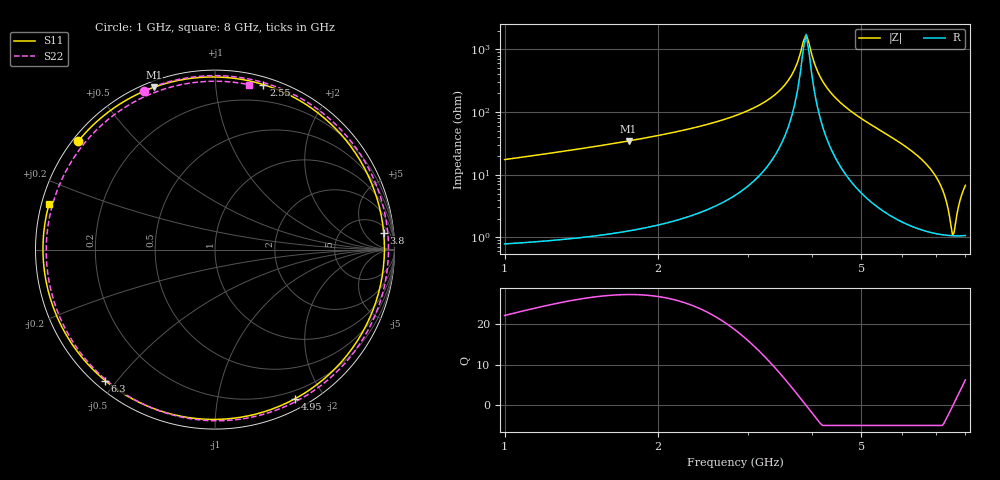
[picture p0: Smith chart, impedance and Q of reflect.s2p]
# GHz S RI R 50
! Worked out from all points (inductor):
!   141 points, 1 GHz to 8 GHz, reference 50 ohm
!   read as one part to ground: L = 2.57 nH near 1 GHz
!   highest Q = 27.3 at 1.75 GHz (marker M1), where L = 3.15 nH
!   self-resonance near 3.895 GHz
!   S11 on the Smith chart (normalised r, x): 1 GHz: 0.02, +0.35; 2.55 GHz: 0.06, +1.33; 3.8 GHz: 9, +15; 4.95 GHz: 0.11, -1.67; 6.3 GHz: 0.03, -0.47; 8 GHz: 0.02, +0.13
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1  -0.7616 0.6045  -0 -0  0 0  -0.3949 0.886
1.35  -0.5897 0.7699  -0 -0  0 0  -0.0477 0.9682
1.75  -0.3399 0.9046  -0 -0  0 0  0.3307 0.9108
2.2  -0.007 0.9619  -0 -0  0 0  0.6725 0.6972
2.55  0.2695 0.9193  -0 -0  0 0  0.8529 0.4581
2.95  0.5705 0.7639  -0 -0  0 0  0.9566 0.1423
3.35  0.8091 0.4957  -0 -0  0 0  0.9474 -0.1864
3.8  0.9401 0.0935  -0 -0  0 0  0.8034 -0.531
4.15  0.9107 -0.2437  -0 -0  0 0  0.5996 -0.7503
4.5  0.7649 -0.5498  -0 -0  0 0  0.3277 -0.8995
4.75  0.6019 -0.7251  -0 -0  0 0  0.1032 -0.9493
4.95  0.4466 -0.8306  -0 -0  0 0  -0.086 -0.9489
5.3  0.1474 -0.9334  -0 -0  0 0  -0.4132 -0.8544
5.7  -0.1928 -0.9281  -0 -0  0 0  -0.7279 -0.6028
6  -0.4203 -0.8522  -0 -0  0 0  -0.8816 -0.3335
6.3  -0.6111 -0.7305  -0 -0  0 0  -0.9402 -0.0266
6.55  -0.7383 -0.6044  -0 -0  0 0  -0.9104 0.2318
6.85  -0.8515 -0.4343  -0 -0  0 0  -0.7856 0.5136
7.15  -0.923 -0.2536  -0 -0  0 0  -0.5813 0.7365
7.45  -0.9556 -0.0704  -0 -0  0 0  -0.3238 0.8805
7.7  -0.9553 0.0796  -0 -0  0 0  -0.0894 0.9339
8  -0.925 0.2523  -0 -0  0 0  0.1919 0.9183
